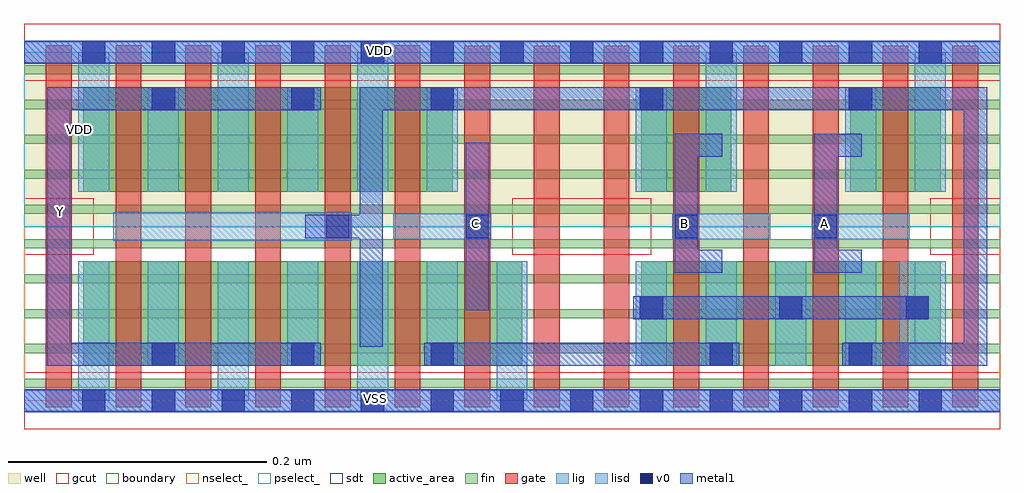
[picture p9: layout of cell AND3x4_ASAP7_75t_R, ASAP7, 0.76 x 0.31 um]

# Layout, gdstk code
import gdstk
lib = gdstk.Library(unit=1e-6, precision=2.5e-10)
def R(c, l, rs):  # rectangles x0, y0, x1, y1
    for r in rs: c.add(gdstk.rectangle(r[:2], r[2:], *l))
def A(c, l, x, y, w, h, nx, ny, dx, dy):  # array of equal rectangles
    R(c, l, [(x+i*dx, y+j*dy, x+i*dx+w, y+j*dy+h) for i in range(nx) for j in range(ny)])
def P(c, l, *ps):  # polygons
    for p in ps: c.add(gdstk.Polygon(p, *l))
well = (1, 0)
fin = (2, 0)
gate = (7, 0)
gcut = (10, 0)
active_area = (11, 0)
nselect_ = (12, 0)
pselect_ = (13, 0)
lig = (16, 0)
lisd = (17, 0)
v0 = (18, 0)
metal1 = (19, 0)
sdt = (88, 0)
boundary = (100, 0)

and3x4_asap7_75t_r = lib.new_cell('AND3x4_ASAP7_75t_R')
R(and3x4_asap7_75t_r, well, [(0,0.135,0.756,0.27)])
A(and3x4_asap7_75t_r, fin, 0, 0.01, 0.756, 0.007, 1, 10, 0, 0.027)
A(and3x4_asap7_75t_r, gate, 0.017, -0.005, 0.02, 0.2805, 6, 1, 0.054, 0)
A(and3x4_asap7_75t_r, gate, 0.341, -0.005, 0.02, 0.28, 8, 1, 0.054, 0)
R(and3x4_asap7_75t_r, gcut, [(0,-0.022,0.756,0.022), (0,0.113,0.054,0.157), (0.378,0.113,0.486,0.157), (0.702,0.113,0.756,0.157), (0,0.248,0.756,0.292)])
R(and3x4_asap7_75t_r, active_area, [(0.046,0.027,0.386,0.108), (0.478,0.027,0.71,0.108), (0.046,0.162,0.332,0.243), (0.478,0.162,0.548,0.243), (0.64,0.162,0.71,0.243)])
R(and3x4_asap7_75t_r, nselect_, [(0,0,0.756,0.135)])
R(and3x4_asap7_75t_r, pselect_, [(0,0.135,0.756,0.27)])
R(and3x4_asap7_75t_r, lig, [(0,-0.008,0.756,0.008), (0.069,0.124,0.254,0.146), (0.286,0.125,0.362,0.145), (0.502,0.125,0.578,0.145), (0.61,0.125,0.686,0.145), (0,0.262,0.756,0.278)])
A(and3x4_asap7_75t_r, lisd, 0.042, 0, 0.024, 0.108, 4, 1, 0.108, 0)
A(and3x4_asap7_75t_r, lisd, 0.096, 0.027, 0.024, 0.081, 3, 2, 0.108, 0.135)
A(and3x4_asap7_75t_r, lisd, 0.474, 0.027, 0.024, 0.081, 4, 1, 0.054, 0)
A(and3x4_asap7_75t_r, lisd, 0.042, 0.162, 0.024, 0.108, 3, 1, 0.108, 0)
R(and3x4_asap7_75t_r, lisd, [(0.678,0.027,0.714,0.108), (0.474,0.162,0.498,0.243), (0.528,0.162,0.552,0.27), (0.636,0.162,0.66,0.243), (0.69,0.162,0.714,0.27)])
A(and3x4_asap7_75t_r, v0, 0.045, -0.009, 0.018, 0.018, 13, 2, 0.054, 0.27)
A(and3x4_asap7_75t_r, v0, 0.099, 0.027, 0.018, 0.018, 3, 2, 0.108, 0.198)
R(and3x4_asap7_75t_r, v0, [(0.531,0.027,0.549,0.045), (0.639,0.027,0.657,0.045), (0.477,0.063,0.495,0.081), (0.585,0.063,0.603,0.081), (0.683,0.063,0.701,0.081), (0.234,0.126,0.252,0.144), (0.342,0.126,0.36,0.144), (0.504,0.126,0.522,0.144), (0.612,0.126,0.63,0.144), (0.477,0.225,0.495,0.243), (0.639,0.225,0.657,0.243)])
R(and3x4_asap7_75t_r, metal1, [(0,-0.009,0.756,0.009), (0.31,0.027,0.554,0.045), (0.472,0.063,0.701,0.081), (0.342,0.07,0.36,0.2), (0,0.261,0.756,0.279)])
P(and3x4_asap7_75t_r, metal1, [(0.649,0.117),(0.63,0.117),(0.63,0.189),(0.649,0.189),(0.649,0.207),(0.612,0.207),(0.612,0.099),(0.649,0.099)],
  [(0.541,0.117),(0.522,0.117),(0.522,0.189),(0.541,0.189),(0.541,0.207),(0.504,0.207),(0.504,0.099),(0.541,0.099)],
  [(0.746,0.243),(0.26,0.243),(0.26,0.144),(0.218,0.144),(0.218,0.126),(0.26,0.126),(0.26,0.042),(0.278,0.042),(0.278,0.225),(0.728,0.225),(0.728,0.045),(0.634,0.045),(0.634,0.027),(0.746,0.027)],
  [(0.23,0.045),(0.036,0.045),(0.036,0.225),(0.23,0.225),(0.23,0.243),(0.018,0.243),(0.018,0.027),(0.23,0.027)])
A(and3x4_asap7_75t_r, sdt, 0.042, 0.027, 0.024, 0.081, 7, 1, 0.054, 0)
A(and3x4_asap7_75t_r, sdt, 0.474, 0.027, 0.024, 0.081, 5, 1, 0.054, 0)
A(and3x4_asap7_75t_r, sdt, 0.042, 0.162, 0.024, 0.081, 6, 1, 0.054, 0)
R(and3x4_asap7_75t_r, sdt, [(0.474,0.162,0.498,0.243), (0.528,0.162,0.552,0.243), (0.636,0.162,0.66,0.243), (0.69,0.162,0.714,0.243)])
R(and3x4_asap7_75t_r, boundary, [(0,0,0.756,0.27)])
and3x4_asap7_75t_r.add(gdstk.Label('VSS', (0.634,-0.059), layer=3, texttype=251))
and3x4_asap7_75t_r.add(gdstk.Label('VDD', (0.043,0.21), layer=1, texttype=251))
and3x4_asap7_75t_r.add(gdstk.Label('A', (0.62,0.137), layer=19, texttype=251))
and3x4_asap7_75t_r.add(gdstk.Label('B', (0.512,0.137), layer=19, texttype=251))
and3x4_asap7_75t_r.add(gdstk.Label('Y', (0.0285,0.1465), layer=19, texttype=251))
and3x4_asap7_75t_r.add(gdstk.Label('VSS', (0.272,0.002), layer=19, texttype=251))
and3x4_asap7_75t_r.add(gdstk.Label('VDD', (0.275,0.271), layer=19, texttype=251))
and3x4_asap7_75t_r.add(gdstk.Label('C', (0.35,0.137), layer=19, texttype=251))

lib.write_gds('AND3x4_ASAP7_75t_R.gds')
